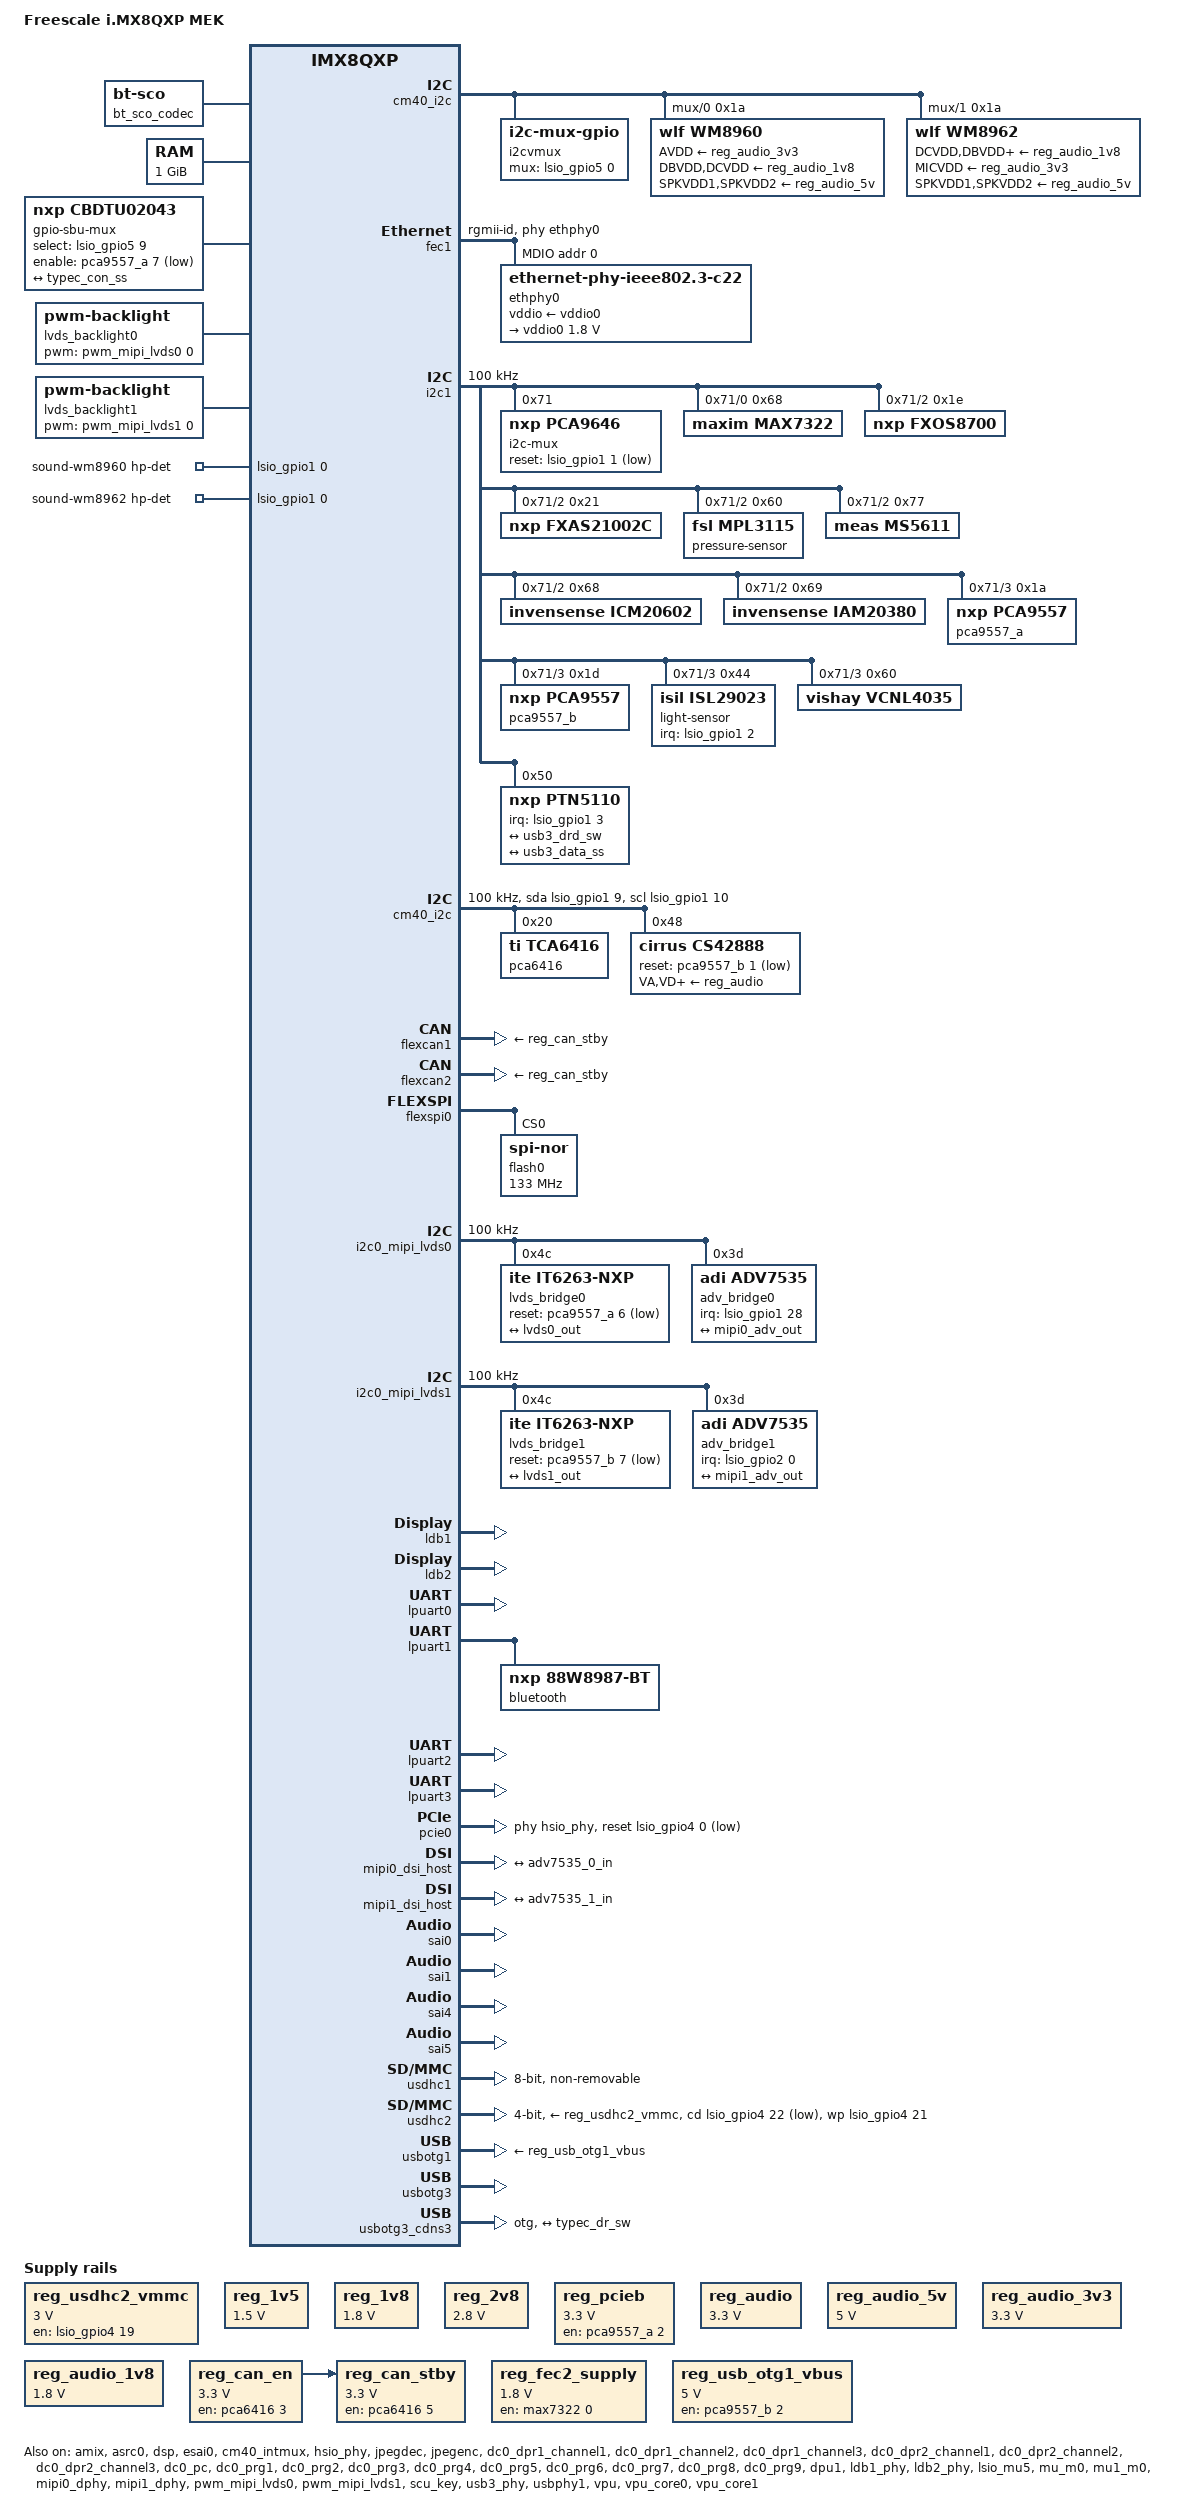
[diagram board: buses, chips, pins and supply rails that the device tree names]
// SPDX-License-Identifier: GPL-2.0+
/*
 * Copyright 2017~2018 NXP
 */

/dts-v1/;

#include "imx8qxp.dtsi"
#include <dt-bindings/usb/pd.h>

/ {
	model = "Freescale i.MX8QXP MEK";
	compatible = "fsl,imx8qxp-mek", "fsl,imx8qxp";

	bt_sco_codec: audio-codec-bt {
		compatible = "linux,bt-sco";
		#sound-dai-cells = <1>;
	};

	brcmfmac: brcmfmac {
		compatible = "cypress,brcmfmac";
		pinctrl-names = "init", "idle", "default";
		pinctrl-0 = <&pinctrl_wifi_init>;
		pinctrl-1 = <&pinctrl_wifi_init>;
		pinctrl-2 = <&pinctrl_wifi>;
	};

	chosen {
		stdout-path = &lpuart0;
	};

	imx8x_cm4: imx8x-cm4 {
		compatible = "fsl,imx8qxp-cm4";
		rsc-da = <0x90000000>;
		mbox-names = "tx", "rx", "rxdb";
		mboxes = <&lsio_mu5 0 1
			  &lsio_mu5 1 1
			  &lsio_mu5 3 1>;
		memory-region = <&vdevbuffer>, <&vdev0vring0>, <&vdev0vring1>,
				<&vdev1vring0>, <&vdev1vring1>, <&rsc_table>;
		power-domains = <&pd IMX_SC_R_M4_0_PID0>,
				<&pd IMX_SC_R_M4_0_MU_1A>;
		fsl,entry-address = <0x34fe0000>;
		fsl,resource-id = <IMX_SC_R_M4_0_PID0>;
		status = "okay";
	};

	memory@80000000 {
		device_type = "memory";
		reg = <0x00000000 0x80000000 0 0x40000000>;
	};

	reg_usdhc2_vmmc: usdhc2-vmmc {
		compatible = "regulator-fixed";
		regulator-name = "SD1_SPWR";
		regulator-min-microvolt = <3000000>;
		regulator-max-microvolt = <3000000>;
		gpio = <&lsio_gpio4 19 GPIO_ACTIVE_HIGH>;
		enable-active-high;
		off-on-delay-us = <3480>;
	};

	gpio-sbu-mux {
		compatible = "nxp,cbdtu02043", "gpio-sbu-mux";
		pinctrl-names = "default";
		pinctrl-0 = <&pinctrl_typec_mux>;
		select-gpios = <&lsio_gpio5 9 GPIO_ACTIVE_HIGH>;
		enable-gpios = <&pca9557_a 7 GPIO_ACTIVE_LOW>;
		orientation-switch;

		port {
			usb3_data_ss: endpoint {
				remote-endpoint = <&typec_con_ss>;
			};
		};
	};

	i2cvmux: i2c-mux {
		compatible = "i2c-mux-gpio";
		mux-gpios = <&lsio_gpio5 0 GPIO_ACTIVE_HIGH>; /* needs to be an unused GPIO */
		i2c-parent = <&cm40_i2c>;
		#address-cells = <1>;
		#size-cells = <0>;

		i2c@0 {
			reg = <0>;
			#address-cells = <1>;
			#size-cells = <0>;

			wm8960: audio-codec@1a {
				compatible = "wlf,wm8960";
				reg = <0x1a>;
				clocks = <&mclkout0_lpcg IMX_LPCG_CLK_0>;
				clock-names = "mclk";
				assigned-clocks = <&clk IMX_SC_R_AUDIO_PLL_0 IMX_SC_PM_CLK_PLL>,
						  <&clk IMX_SC_R_AUDIO_PLL_0 IMX_SC_PM_CLK_SLV_BUS>,
						  <&clk IMX_SC_R_AUDIO_PLL_0 IMX_SC_PM_CLK_MST_BUS>,
						  <&mclkout0_lpcg IMX_LPCG_CLK_0>;
				assigned-clock-rates = <786432000>,
						       <49152000>,
						       <12288000>,
						       <12288000>;
				wlf,shared-lrclk;
				wlf,hp-cfg = <2 2 3>;
				wlf,gpio-cfg = <1 3>;
				AVDD-supply = <&reg_audio_3v3>;
				DBVDD-supply = <&reg_audio_1v8>;
				DCVDD-supply = <&reg_audio_1v8>;
				SPKVDD1-supply = <&reg_audio_5v>;
				SPKVDD2-supply = <&reg_audio_5v>;
			};
		};

		i2c@1 {
			reg = <1>;
			#address-cells = <1>;
			#size-cells = <0>;

			wm8962: wm8962@1a {
				compatible = "wlf,wm8962";
				reg = <0x1a>;
				clocks = <&mclkout0_lpcg IMX_LPCG_CLK_0>;
				assigned-clocks = <&clk IMX_SC_R_AUDIO_PLL_0 IMX_SC_PM_CLK_PLL>,
						  <&clk IMX_SC_R_AUDIO_PLL_0 IMX_SC_PM_CLK_SLV_BUS>,
						  <&clk IMX_SC_R_AUDIO_PLL_0 IMX_SC_PM_CLK_MST_BUS>,
						  <&mclkout0_lpcg IMX_LPCG_CLK_0>;
				assigned-clock-rates = <786432000>,
						       <49152000>,
						       <12288000>,
						       <12288000>;
				DCVDD-supply = <&reg_audio_1v8>;
				DBVDD-supply = <&reg_audio_1v8>;
				AVDD-supply = <&reg_audio_1v8>;
				CPVDD-supply = <&reg_audio_1v8>;
				MICVDD-supply = <&reg_audio_3v3>;
				PLLVDD-supply = <&reg_audio_1v8>;
				SPKVDD1-supply = <&reg_audio_5v>;
				SPKVDD2-supply = <&reg_audio_5v>;
			};
		};
	};

	reg_1v5: regulator-1v5 {
		compatible = "regulator-fixed";
		regulator-name = "1v5";
		regulator-min-microvolt = <1500000>;
		regulator-max-microvolt = <1500000>;
	};

	reg_1v8: regulator-1v8 {
		compatible = "regulator-fixed";
		regulator-name = "1v8";
		regulator-min-microvolt = <1800000>;
		regulator-max-microvolt = <1800000>;
	};

	reg_2v8: regulator-2v8 {
		compatible = "regulator-fixed";
		regulator-name = "2v8";
		regulator-min-microvolt = <2800000>;
		regulator-max-microvolt = <2800000>;
	};

	reg_pcieb: regulator-pcie {
		compatible = "regulator-fixed";
		regulator-max-microvolt = <3300000>;
		regulator-min-microvolt = <3300000>;
		regulator-name = "mpcie_3v3";
		gpio = <&pca9557_a 2 GPIO_ACTIVE_HIGH>;
		enable-active-high;
	};

	lvds_backlight0: lvds_backlight@0 {
		compatible = "pwm-backlight";
		pwms = <&pwm_mipi_lvds0 0 100000 0>;
		brightness-levels = <0 100>;
		num-interpolated-steps = <100>;
		default-brightness-level = <80>;
	};

	lvds_backlight1: lvds_backlight@1 {
		compatible = "pwm-backlight";
		pwms = <&pwm_mipi_lvds1 0 100000 0>;
		brightness-levels = <0 100>;
		num-interpolated-steps = <100>;
		default-brightness-level = <80>;
	};

	reg_audio: regulator-audio {
		compatible = "regulator-fixed";
		regulator-max-microvolt = <3300000>;
		regulator-min-microvolt = <3300000>;
		regulator-name = "cs42888_supply";
	};

	reg_audio_5v: regulator-audio-pwr {
		compatible = "regulator-fixed";
		regulator-name = "audio-5v";
		regulator-min-microvolt = <5000000>;
		regulator-max-microvolt = <5000000>;
		regulator-always-on;
		regulator-boot-on;
	};

	reg_audio_3v3: regulator-audio-3v3 {
		compatible = "regulator-fixed";
		regulator-name = "audio-3v3";
		regulator-min-microvolt = <3300000>;
		regulator-max-microvolt = <3300000>;
		regulator-always-on;
		regulator-boot-on;
	};

	reg_audio_1v8: regulator-audio-1v8 {
		compatible = "regulator-fixed";
		regulator-name = "audio-1v8";
		regulator-min-microvolt = <1800000>;
		regulator-max-microvolt = <1800000>;
		regulator-always-on;
		regulator-boot-on;
	};

	reg_can_en: regulator-can-en {
		compatible = "regulator-fixed";
		regulator-max-microvolt = <3300000>;
		regulator-min-microvolt = <3300000>;
		regulator-name = "can-en";
		gpio = <&pca6416 3 GPIO_ACTIVE_HIGH>;
		enable-active-high;
	};

	reg_can_stby: regulator-can-stby {
		compatible = "regulator-fixed";
		regulator-max-microvolt = <3300000>;
		regulator-min-microvolt = <3300000>;
		regulator-name = "can-stby";
		gpio = <&pca6416 5 GPIO_ACTIVE_HIGH>;
		enable-active-high;
		vin-supply = <&reg_can_en>;
	};

	reg_fec2_supply: regulator-fec2_nvcc {
		compatible = "regulator-fixed";
		regulator-name = "fec2_nvcc";
		regulator-min-microvolt = <1800000>;
		regulator-max-microvolt = <1800000>;
		gpio = <&max7322 0 GPIO_ACTIVE_HIGH>;
		enable-active-high;
	};

	reg_usb_otg1_vbus: regulator-usbotg1-vbus {
		compatible = "regulator-fixed";
		regulator-max-microvolt = <5000000>;
		regulator-min-microvolt = <5000000>;
		regulator-name = "usb_otg1_vbus";
		gpio = <&pca9557_b 2 GPIO_ACTIVE_HIGH>;
		enable-active-high;
	};

	reserved-memory {
		#address-cells = <2>;
		#size-cells = <2>;
		ranges;

		vdev0vring0: vdev0vring0@90000000 {
			reg = <0 0x90000000 0 0x8000>;
			no-map;
		};

		vdev0vring1: vdev0vring1@90008000 {
			reg = <0 0x90008000 0 0x8000>;
			no-map;
		};

		vdev1vring0: vdev1vring0@90010000 {
			reg = <0 0x90010000 0 0x8000>;
			no-map;
		};

		vdev1vring1: vdev1vring1@90018000 {
			reg = <0 0x90018000 0 0x8000>;
			no-map;
		};

		rsc_table: rsc-table@900ff000 {
			reg = <0 0x900ff000 0 0x1000>;
			no-map;
		};

		vdevbuffer: vdevbuffer@90400000 {
			compatible = "shared-dma-pool";
			reg = <0 0x90400000 0 0x100000>;
			no-map;
		};

		dsp_vdev0vring0: vdev0vring0@942f0000 {
			reg = <0 0x942f0000 0 0x8000>;
			no-map;
		};

		dsp_vdev0vring1: vdev0vring1@942f8000 {
			reg = <0 0x942f8000 0 0x8000>;
			no-map;
		};

		dsp_vdev0buffer: vdev0buffer@94300000 {
			compatible = "shared-dma-pool";
			reg = <0 0x94300000 0 0x100000>;
			no-map;
		};

		/* global autoconfigured region for contiguous allocations */
		linux,cma {
			compatible = "shared-dma-pool";
			alloc-ranges = <0 0xc0000000 0 0x3c000000>;
			size = <0 0x3c000000>;
			linux,cma-default;
			reusable;
		};

		gpu_reserved: memory@880000000 {
			no-map;
			reg = <0x8 0x80000000 0 0x10000000>;
		};

		decoder_boot: decoder-boot@84000000 {
			reg = <0 0x84000000 0 0x2000000>;
			no-map;
		};

		encoder_boot: encoder-boot@86000000 {
			reg = <0 0x86000000 0 0x200000>;
			no-map;
		};

		decoder_rpc: decoder-rpc@92000000 {
			reg = <0 0x92000000 0 0x100000>;
			no-map;
		};

		dsp_reserved: dsp@92400000 {
			reg = <0 0x92400000 0 0x1000000>;
			no-map;
		};

		dsp_reserved_heap: dsp_reserved_heap@93400000 {
			reg = <0 0x93400000 0 0xef0000>;
			no-map;
		};

		encoder_rpc: encoder-rpc@94400000 {
			reg = <0 0x94400000 0 0x700000>;
			no-map;
		};

		/* global autoconfigured region for contiguous allocations */
		linux,cma {
			compatible = "shared-dma-pool";
			reusable;
			size = <0 0x3c000000>;
			alloc-ranges = <0 0xc0000000 0 0x3c000000>;
			linux,cma-default;
		};
	};

	sound-bt-sco {
		compatible = "simple-audio-card";
		simple-audio-card,bitclock-inversion;
		simple-audio-card,bitclock-master = <&btcpu>;
		simple-audio-card,format = "dsp_a";
		simple-audio-card,frame-master = <&btcpu>;
		simple-audio-card,name = "bt-sco-audio";

		simple-audio-card,codec {
			sound-dai = <&bt_sco_codec 1>;
		};

		btcpu: simple-audio-card,cpu {
			dai-tdm-slot-num = <2>;
			dai-tdm-slot-width = <16>;
			sound-dai = <&sai0>;
		};
	};

	sound-cs42888 {
		compatible = "fsl,imx-audio-cs42888";
		audio-asrc = <&asrc0>;
		audio-codec = <&cs42888>;
		audio-cpu = <&esai0>;
		audio-routing =
			"Line Out Jack", "AOUT1L",
			"Line Out Jack", "AOUT1R",
			"Line Out Jack", "AOUT2L",
			"Line Out Jack", "AOUT2R",
			"Line Out Jack", "AOUT3L",
			"Line Out Jack", "AOUT3R",
			"Line Out Jack", "AOUT4L",
			"Line Out Jack", "AOUT4R",
			"AIN1L", "Line In Jack",
			"AIN1R", "Line In Jack",
			"AIN2L", "Line In Jack",
			"AIN2R", "Line In Jack";
		model = "imx-cs42888";
	};

	sound-wm8960 {
		compatible = "fsl,imx-audio-wm8960";
		model = "wm8960-audio";
		audio-cpu = <&sai1>;
		audio-codec = <&wm8960>;
		hp-det-gpios = <&lsio_gpio1 0 GPIO_ACTIVE_HIGH>;
		audio-routing = "Headphone Jack", "HP_L",
				"Headphone Jack", "HP_R",
				"Ext Spk", "SPK_LP",
				"Ext Spk", "SPK_LN",
				"Ext Spk", "SPK_RP",
				"Ext Spk", "SPK_RN",
				"LINPUT1", "Mic Jack",
				"Mic Jack", "MICB";
	};

	sound-wm8962 {
		compatible = "fsl,imx-audio-wm8962";
		model = "wm8962-audio";
		audio-cpu = <&sai1>;
		audio-codec = <&wm8962>;
		hp-det-gpios = <&lsio_gpio1 0 GPIO_ACTIVE_HIGH>;
		audio-routing = "Headphone Jack", "HPOUTL",
				"Headphone Jack", "HPOUTR",
				"Ext Spk", "SPKOUTL",
				"Ext Spk", "SPKOUTR",
				"AMIC", "MICBIAS",
				"IN3R", "AMIC",
				"IN1R", "AMIC";
	};
};

&amix {
	status = "okay";
};

&asrc0 {
	fsl,asrc-rate = <48000>;
	status = "okay";
};

&dsp {
	memory-region = <&dsp_vdev0buffer>, <&dsp_vdev0vring0>,
			<&dsp_vdev0vring1>, <&dsp_reserved>;
	status = "okay";
};

&dsp_reserved {
	status = "okay";
};

&esai0 {
	assigned-clocks = <&acm IMX_ADMA_ACM_ESAI0_MCLK_SEL>,
			<&clk IMX_SC_R_AUDIO_PLL_0 IMX_SC_PM_CLK_PLL>,
			<&clk IMX_SC_R_AUDIO_PLL_0 IMX_SC_PM_CLK_SLV_BUS>,
			<&clk IMX_SC_R_AUDIO_PLL_0 IMX_SC_PM_CLK_MST_BUS>,
			<&esai0_lpcg IMX_LPCG_CLK_0>;
	assigned-clock-parents = <&aud_pll_div0_lpcg IMX_LPCG_CLK_0>;
	assigned-clock-rates = <0>, <786432000>, <49152000>, <12288000>, <49152000>;
	pinctrl-0 = <&pinctrl_esai0>;
	pinctrl-names = "default";
	fsl,txm-rxs;
	status = "okay";
};

&fec1 {
	pinctrl-names = "default";
	pinctrl-0 = <&pinctrl_fec1>;
	phy-mode = "rgmii-id";
	phy-handle = <&ethphy0>;
	nvmem-cells = <&fec_mac0>;
	nvmem-cell-names = "mac-address";
	fsl,magic-packet;
	status = "okay";

	mdio {
		#address-cells = <1>;
		#size-cells = <0>;

		ethphy0: ethernet-phy@0 {
			compatible = "ethernet-phy-ieee802.3-c22";
			reg = <0>;
			qca,disable-smarteee;
			vddio-supply = <&vddio0>;

			vddio0: vddio-regulator {
				regulator-min-microvolt = <1800000>;
				regulator-max-microvolt = <1800000>;
			};
		};

		ethphy1: ethernet-phy@1 {
			compatible = "ethernet-phy-ieee802.3-c22";
			reg = <1>;
			qca,disable-smarteee;
			vddio-supply = <&vddio1>;
			status = "disabled";

			vddio1: vddio-regulator {
				regulator-min-microvolt = <1800000>;
				regulator-max-microvolt = <1800000>;
			};
		};
	};
};

&fec2 {
	pinctrl-names = "default";
	pinctrl-0 = <&pinctrl_fec2>;
	phy-mode = "rgmii-id";
	phy-handle = <&ethphy1>;
	phy-supply = <&reg_fec2_supply>;
	fsl,magic-packet;
	nvmem-cells = <&fec_mac1>;
	nvmem-cell-names = "mac-address";
	status = "disabled";
};

&imx8_gpu_ss {
	memory-region = <&gpu_reserved>;
};

&i2c1 {
	#address-cells = <1>;
	#size-cells = <0>;
	clock-frequency = <100000>;
	pinctrl-names = "default";
	pinctrl-0 = <&pinctrl_lpi2c1 &pinctrl_ioexp_rst>;
	status = "okay";

	i2c-mux@71 {
		compatible = "nxp,pca9646", "nxp,pca9546";
		#address-cells = <1>;
		#size-cells = <0>;
		reg = <0x71>;
		reset-gpios = <&lsio_gpio1 1 GPIO_ACTIVE_LOW>;

		i2c@0 {
			#address-cells = <1>;
			#size-cells = <0>;
			reg = <0>;

			max7322: gpio@68 {
				compatible = "maxim,max7322";
				reg = <0x68>;
				gpio-controller;
				#gpio-cells = <2>;
			};
		};

		i2c@1 {
			#address-cells = <1>;
			#size-cells = <0>;
			reg = <1>;
		};

		i2c@2 {
			#address-cells = <1>;
			#size-cells = <0>;
			reg = <2>;

			fxos8700@1e {
				compatible = "nxp,fxos8700";
				reg = <0x1e>;
				interrupt-open-drain;
			};

			fxas21002c@21 {
				compatible = "nxp,fxas21002c";
				reg = <0x21>;
				interrupt-open-drain;
			};

			pressure-sensor@60 {
				compatible = "fsl,mpl3115";
				reg = <0x60>;
				interrupt-open-drain;
			};

			/* WCPU boards SCH-54536 */
			ms5611@77 {
				compatible = "meas,ms5611";
				reg = <0x77>;
			};

			icm20602@68 {
				compatible = "invensense,icm20602";
				reg = <0x68>;
			};

			iam20380@69 {
				compatible = "invensense,iam20380";
				reg = <0x69>;
			};
		};

		i2c@3 {
			#address-cells = <1>;
			#size-cells = <0>;
			reg = <3>;

			pca9557_a: gpio@1a {
				compatible = "nxp,pca9557";
				reg = <0x1a>;
				gpio-controller;
				#gpio-cells = <2>;
			};

			pca9557_b: gpio@1d {
				compatible = "nxp,pca9557";
				reg = <0x1d>;
				gpio-controller;
				#gpio-cells = <2>;
			};

			light-sensor@44 {
				pinctrl-names = "default";
				pinctrl-0 = <&pinctrl_isl29023>;
				compatible = "isil,isl29023";
				reg = <0x44>;
				interrupt-parent = <&lsio_gpio1>;
				interrupts = <2 IRQ_TYPE_EDGE_FALLING>;
			};

			/* WCPU boards SCH-54536 */
			vcnl4035@60 {
				compatible = "vishay,vcnl4035";
				reg = <0x60>;
			};
		};
	};

	ptn5110: tcpc@50 {
		compatible = "nxp,ptn5110", "tcpci";
		pinctrl-names = "default";
		pinctrl-0 = <&pinctrl_typec>;
		reg = <0x50>;
		interrupt-parent = <&lsio_gpio1>;
		interrupts = <3 IRQ_TYPE_LEVEL_LOW>;

		usb_con1: connector {
			compatible = "usb-c-connector";
			label = "USB-C";
			power-role = "source";
			data-role = "dual";
			source-pdos = <PDO_FIXED(5000, 3000, PDO_FIXED_USB_COMM)>;

			ports {
				#address-cells = <1>;
				#size-cells = <0>;

				port@0 {
					reg = <0>;

					typec_dr_sw: endpoint {
						remote-endpoint = <&usb3_drd_sw>;
					};
				};

				port@1 {
					reg = <1>;

					typec_con_ss: endpoint {
						remote-endpoint = <&usb3_data_ss>;
					};
				};
			};
		};
	};

};

pcam_i2c: &cm40_i2c {
	#address-cells = <1>;
	#size-cells = <0>;
	clock-frequency = <100000>;
	pinctrl-names = "default", "gpio";
	pinctrl-0 = <&pinctrl_cm40_i2c>;
	pinctrl-1 = <&pinctrl_cm40_i2c_gpio>;
	scl-gpios = <&lsio_gpio1 10 GPIO_ACTIVE_HIGH>;
	sda-gpios = <&lsio_gpio1 9 GPIO_ACTIVE_HIGH>;
	status = "okay";

	pca6416: gpio@20 {
		compatible = "ti,tca6416";
		reg = <0x20>;
		gpio-controller;
		#gpio-cells = <2>;
	};

	cs42888: audio-codec@48 {
		compatible = "cirrus,cs42888";
		reg = <0x48>;
		clocks = <&mclkout0_lpcg IMX_LPCG_CLK_0>;
		clock-names = "mclk";
		assigned-clocks = <&clk IMX_SC_R_AUDIO_PLL_0 IMX_SC_PM_CLK_PLL>,
				<&clk IMX_SC_R_AUDIO_PLL_0 IMX_SC_PM_CLK_SLV_BUS>,
				<&clk IMX_SC_R_AUDIO_PLL_0 IMX_SC_PM_CLK_MST_BUS>,
				<&mclkout0_lpcg IMX_LPCG_CLK_0>;
		assigned-clock-rates = <786432000>, <49152000>, <12288000>, <12288000>;
		reset-gpios = <&pca9557_b 1 GPIO_ACTIVE_LOW>;
		VA-supply = <&reg_audio>;
		VD-supply = <&reg_audio>;
		VLC-supply = <&reg_audio>;
		VLS-supply = <&reg_audio>;
	};
};

&amix {
	status = "okay";
};

&cm40_intmux {
	status = "okay";
};

&hsio_phy {
	fsl,hsio-cfg = "pciea-x2-pcieb";
	fsl,refclk-pad-mode = "input";
	status = "okay";
};

&flexcan1 {
	pinctrl-0 = <&pinctrl_flexcan1>;
	pinctrl-names = "default";
	xceiver-supply = <&reg_can_stby>;
	status = "okay";
};

&flexcan2 {
	pinctrl-0 = <&pinctrl_flexcan2>;
	pinctrl-names = "default";
	xceiver-supply = <&reg_can_stby>;
	status = "okay";
};

&flexspi0 {
	pinctrl-names = "default";
	pinctrl-0 = <&pinctrl_flexspi0>;
	status = "okay";

	flash0: flash@0 {
		compatible = "jedec,spi-nor";
		reg = <0>;
		spi-max-frequency = <133000000>;
		spi-tx-bus-width = <8>;
		spi-rx-bus-width = <8>;
	};
};

&jpegdec {
	status = "okay";
};

&jpegenc {
	status = "okay";
};

&dc0_dpr1_channel1 {
	status = "okay";
};

&dc0_dpr1_channel2 {
	status = "okay";
};

&dc0_dpr1_channel3 {
	status = "okay";
};

&dc0_dpr2_channel1 {
	status = "okay";
};

&dc0_dpr2_channel2 {
	status = "okay";
};

&dc0_dpr2_channel3 {
	status = "okay";
};

&dc0_pc {
	status = "okay";
};

&dc0_prg1 {
	status = "okay";
};

&dc0_prg2 {
	status = "okay";

};

&dc0_prg3 {
	status = "okay";
};

&dc0_prg4 {
	status = "okay";
};

&dc0_prg5 {
	status = "okay";
};

&dc0_prg6 {
	status = "okay";
};

&dc0_prg7 {
	status = "okay";
};

&dc0_prg8 {
	status = "okay";
};

&dc0_prg9 {
	status = "okay";
};

&dpu1 {
	status = "okay";
};

&i2c0_mipi_lvds0 {
	#address-cells = <1>;
	#size-cells = <0>;
	pinctrl-names = "default";
	pinctrl-0 = <&pinctrl_i2c0_mipi_lvds0>;
	clock-frequency = <100000>;
	status = "okay";

	lvds_bridge0: lvds-to-hdmi-bridge@4c {
		compatible = "ite,it6263-nxp";
		reg = <0x4c>;
		reset-gpios = <&pca9557_a 6 GPIO_ACTIVE_LOW>;

		port {
			it6263_0_in: endpoint {
				remote-endpoint = <&lvds0_out>;
			};
		};
	};

	adv_bridge0: adv7535@3d {
		#address-cells = <1>;
		#size-cells = <0>;

		compatible = "adi,adv7535";
		reg = <0x3d>;
		adi,addr-cec = <0x3b>;
		adi,dsi-lanes = <4>;
		adi,dsi-channel = <1>;
		interrupt-parent = <&lsio_gpio1>;
		interrupts = <28 IRQ_TYPE_LEVEL_LOW>;
		status = "okay";

		port@0 {
			reg = <0>;
			adv7535_0_in: endpoint {
				remote-endpoint = <&mipi0_adv_out>;
			};
		};
	};
};

&i2c0_mipi_lvds1 {
	#address-cells = <1>;
	#size-cells = <0>;
	pinctrl-names = "default";
	pinctrl-0 = <&pinctrl_i2c0_mipi_lvds1>;
	clock-frequency = <100000>;
	status = "okay";

	lvds_bridge1: lvds-to-hdmi-bridge@4c {
		compatible = "ite,it6263-nxp";
		reg = <0x4c>;
		reset-gpios = <&pca9557_b 7 GPIO_ACTIVE_LOW>;

		port {
			it6263_1_in: endpoint {
				remote-endpoint = <&lvds1_out>;
			};
		};
	};

	adv_bridge1: adv7535@3d {
		#address-cells = <1>;
		#size-cells = <0>;

		compatible = "adi,adv7535";
		reg = <0x3d>;
		adi,addr-cec = <0x3b>;
		adi,dsi-lanes = <4>;
		adi,dsi-channel = <1>;
		interrupt-parent = <&lsio_gpio2>;
		interrupts = <0 IRQ_TYPE_LEVEL_LOW>;
		status = "okay";

		port@0 {
			reg = <0>;
			adv7535_1_in: endpoint {
				remote-endpoint = <&mipi1_adv_out>;
			};
		};
	};
};

&ldb1 {
	status = "okay";

	lvds-channel@0 {
		fsl,data-mapping = "jeida";
		fsl,data-width = <24>;
		status = "okay";

		port@1 {
			reg = <1>;

			lvds0_out: endpoint {
				remote-endpoint = <&it6263_0_in>;
			};
		};
	};
};

&ldb1_phy {
	status = "okay";
};

&ldb2 {
	status = "okay";

	lvds-channel@0 {
		fsl,data-mapping = "jeida";
		fsl,data-width = <24>;
		status = "okay";

		port@1 {
			reg = <1>;

			lvds1_out: endpoint {
				remote-endpoint = <&it6263_1_in>;
			};
		};
	};
};

&ldb2_phy {
	status = "okay";
};

&lpuart0 {
	pinctrl-names = "default";
	pinctrl-0 = <&pinctrl_lpuart0>;
	status = "okay";
};

&lpuart1 {
	pinctrl-names = "default";
	pinctrl-0 = <&pinctrl_lpuart1>;
	status = "okay";

	bluetooth {
		compatible = "nxp,88w8987-bt";
	};
};

&lpuart2 {
	pinctrl-names = "default";
	pinctrl-0 = <&pinctrl_lpuart2>;
	status = "okay";
};

&lpuart3 {
	pinctrl-names = "default";
	pinctrl-0 = <&pinctrl_lpuart3>;
	status = "okay";
};

&lsio_mu5 {
	status = "okay";
};

&mu_m0 {
	status = "okay";
};

&mu1_m0 {
	status = "okay";
};

&pcie0 {
	phys = <&hsio_phy 0 PHY_TYPE_PCIE 0>;
	phy-names = "pcie-phy";
	pinctrl-0 = <&pinctrl_pcieb>;
	pinctrl-names = "default";
	reset-gpios = <&lsio_gpio4 0 GPIO_ACTIVE_LOW>;
	vpcie-supply = <&reg_pcieb>;
	vpcie3v3aux-supply = <&reg_pcieb>;
	supports-clkreq;
	status = "okay";
};

&pcie0_ep {
	phys = <&hsio_phy 0 PHY_TYPE_PCIE 0>;
	phy-names = "pcie-phy";
	pinctrl-0 = <&pinctrl_pcieb>;
	pinctrl-names = "default";
	vpcie-supply = <&reg_pcieb>;
	status = "disabled";
};

&mipi0_dphy {
	status = "okay";
};

&mipi0_dsi_host {
	status = "okay";

	ports {
		port@1 {
			reg = <1>;
			mipi0_adv_out: endpoint {
				remote-endpoint = <&adv7535_0_in>;
			};
		};
	};
};

&mipi1_dphy {
	status = "okay";
};

&mipi1_dsi_host {
	status = "okay";

	ports {
		port@1 {
			reg = <1>;
			mipi1_adv_out: endpoint {
				remote-endpoint = <&adv7535_1_in>;
			};
		};
	};
};

&pwm_mipi_lvds0 {
	pinctrl-names = "default";
	pinctrl-0 = <&pinctrl_pwm_mipi_lvds0>;
	status = "okay";
};

&pwm_mipi_lvds1 {
	pinctrl-names = "default";
	pinctrl-0 = <&pinctrl_pwm_mipi_lvds1>;
	status = "okay";
};

&scu_key {
	status = "okay";
};

&sai0 {
	#sound-dai-cells = <0>;
	assigned-clocks = <&clk IMX_SC_R_AUDIO_PLL_0 IMX_SC_PM_CLK_PLL>,
			  <&clk IMX_SC_R_AUDIO_PLL_0 IMX_SC_PM_CLK_SLV_BUS>,
			  <&clk IMX_SC_R_AUDIO_PLL_0 IMX_SC_PM_CLK_MST_BUS>,
			  <&sai0_lpcg IMX_LPCG_CLK_0>;
	assigned-clock-rates = <786432000>, <49152000>, <12288000>, <49152000>;
	pinctrl-names = "default";
	pinctrl-0 = <&pinctrl_sai0>;
	fsl,txm-rxs;
	status = "okay";
};

&sai1 {
	assigned-clocks = <&clk IMX_SC_R_AUDIO_PLL_0 IMX_SC_PM_CLK_PLL>,
			  <&clk IMX_SC_R_AUDIO_PLL_0 IMX_SC_PM_CLK_SLV_BUS>,
			  <&clk IMX_SC_R_AUDIO_PLL_0 IMX_SC_PM_CLK_MST_BUS>,
			  <&sai1_lpcg IMX_LPCG_CLK_0>;
	assigned-clock-rates = <786432000>, <49152000>, <12288000>, <49152000>;
	pinctrl-names = "default";
	pinctrl-0 = <&pinctrl_sai1>;
	status = "okay";
};

&sai4 {
	assigned-clocks = <&acm IMX_ADMA_ACM_SAI4_MCLK_SEL>,
			  <&clk IMX_SC_R_AUDIO_PLL_1 IMX_SC_PM_CLK_PLL>,
			  <&clk IMX_SC_R_AUDIO_PLL_1 IMX_SC_PM_CLK_SLV_BUS>,
			  <&clk IMX_SC_R_AUDIO_PLL_1 IMX_SC_PM_CLK_MST_BUS>,
			  <&sai4_lpcg IMX_LPCG_CLK_0>;
	assigned-clock-parents = <&aud_pll_div1_lpcg IMX_LPCG_CLK_0>;
	assigned-clock-rates = <0>, <786432000>, <98304000>, <12288000>, <98304000>;
	fsl,sai-asynchronous;
	fsl,txm-rxs;
	status = "okay";
};

&sai5 {
	assigned-clocks = <&acm IMX_ADMA_ACM_SAI5_MCLK_SEL>,
			  <&clk IMX_SC_R_AUDIO_PLL_1 IMX_SC_PM_CLK_PLL>,
			  <&clk IMX_SC_R_AUDIO_PLL_1 IMX_SC_PM_CLK_SLV_BUS>,
			  <&clk IMX_SC_R_AUDIO_PLL_1 IMX_SC_PM_CLK_MST_BUS>,
			  <&sai5_lpcg IMX_LPCG_CLK_0>;
	assigned-clock-parents = <&aud_pll_div1_lpcg IMX_LPCG_CLK_0>;
	assigned-clock-rates = <0>, <786432000>, <98304000>, <12288000>, <98304000>;
	fsl,sai-asynchronous;
	fsl,txm-rxs;
	status = "okay";
};

&thermal_zones {
	pmic-thermal {
		polling-delay-passive = <250>;
		polling-delay = <2000>;
		thermal-sensors = <&tsens IMX_SC_R_PMIC_0>;

		trips {
			pmic_alert0: trip0 {
				temperature = <110000>;
				hysteresis = <2000>;
				type = "passive";
			};

			pmic_crit0: trip1 {
				temperature = <125000>;
				hysteresis = <2000>;
				type = "critical";
			};
		};

		pmic_cooling_maps: cooling-maps {
			map0 {
				trip = <&pmic_alert0>;
				cooling-device =
					<&A35_0 THERMAL_NO_LIMIT THERMAL_NO_LIMIT>,
					<&A35_1 THERMAL_NO_LIMIT THERMAL_NO_LIMIT>,
					<&A35_2 THERMAL_NO_LIMIT THERMAL_NO_LIMIT>,
					<&A35_3 THERMAL_NO_LIMIT THERMAL_NO_LIMIT>,
					<&imx8_gpu_ss 0 1>;
			};
		};
	};
};

&usdhc1 {
	assigned-clocks = <&clk IMX_SC_R_SDHC_0 IMX_SC_PM_CLK_PER>;
	assigned-clock-rates = <400000000>;
	pinctrl-names = "default", "state_100mhz", "state_200mhz";
	pinctrl-0 = <&pinctrl_usdhc1>;
	pinctrl-1 = <&pinctrl_usdhc1>;
	pinctrl-2 = <&pinctrl_usdhc1>;
	bus-width = <8>;
	no-sd;
	no-sdio;
	non-removable;
	status = "okay";
};

&usdhc2 {
	assigned-clocks = <&clk IMX_SC_R_SDHC_1 IMX_SC_PM_CLK_PER>;
	assigned-clock-rates = <200000000>;
	pinctrl-names = "default", "state_100mhz", "state_200mhz";
	pinctrl-0 = <&pinctrl_usdhc2>, <&pinctrl_usdhc2_gpio>;
	pinctrl-1 = <&pinctrl_usdhc2>, <&pinctrl_usdhc2_gpio>;
	pinctrl-2 = <&pinctrl_usdhc2>, <&pinctrl_usdhc2_gpio>;
	bus-width = <4>;
	vmmc-supply = <&reg_usdhc2_vmmc>;
	cd-gpios = <&lsio_gpio4 22 GPIO_ACTIVE_LOW>;
	wp-gpios = <&lsio_gpio4 21 GPIO_ACTIVE_HIGH>;
	status = "okay";
};

&usb3_phy {
	status = "okay";
};

&usbphy1 {
	status = "okay";
};

&usbotg1 {
	adp-disable;
	hnp-disable;
	srp-disable;
	disable-over-current;
	power-active-high;
	vbus-supply = <&reg_usb_otg1_vbus>;
	status = "okay";
};

&usbotg3 {
	status = "okay";
};

&usbotg3_cdns3 {
	dr_mode = "otg";
	usb-role-switch;
	status = "okay";

	port {
		usb3_drd_sw: endpoint {
			remote-endpoint = <&typec_dr_sw>;
		};
	};
};


&vpu {
	compatible = "nxp,imx8qxp-vpu";
	status = "okay";
};

&vpu_core0 {
	reg = <0x2d040000 0x10000>;
	memory-region = <&decoder_boot>, <&decoder_rpc>;
	status = "okay";
};

&vpu_core1 {
	reg = <0x2d050000 0x10000>;
	memory-region = <&encoder_boot>, <&encoder_rpc>;
	status = "okay";
};

&iomuxc {
	pinctrl-names = "default";
	pinctrl-0 = <&pinctrl_hog>;

	pinctrl_hog: hoggrp {
		fsl,pins = <
			IMX8QXP_MCLK_OUT0_ADMA_ACM_MCLK_OUT0       0x0600004c
//			IMX8QXP_COMP_CTL_GPIO_1V8_3V3_GPIORHB_PAD  0x000514a0
		>;
	};

	pinctrl_cm40_i2c: cm40i2cgrp {
		fsl,pins = <
			IMX8QXP_ADC_IN1_M40_I2C0_SDA				0x0600004c
			IMX8QXP_ADC_IN0_M40_I2C0_SCL				0x0600004c
		>;
	};

	pinctrl_cm40_i2c_gpio: cm40i2cgpio-grp {
		fsl,pins = <
			IMX8QXP_ADC_IN1_LSIO_GPIO1_IO09				0xc600004c
			IMX8QXP_ADC_IN0_LSIO_GPIO1_IO10				0xc600004c
		>;
	};

	pinctrl_esai0: esai0grp {
		fsl,pins = <
			IMX8QXP_ESAI0_FSR_ADMA_ESAI0_FSR			0xc6000040
			IMX8QXP_ESAI0_FST_ADMA_ESAI0_FST			0xc6000040
			IMX8QXP_ESAI0_SCKR_ADMA_ESAI0_SCKR			0xc6000040
			IMX8QXP_ESAI0_SCKT_ADMA_ESAI0_SCKT			0xc6000040
			IMX8QXP_ESAI0_TX0_ADMA_ESAI0_TX0			0xc6000040
			IMX8QXP_ESAI0_TX1_ADMA_ESAI0_TX1			0xc6000040
			IMX8QXP_ESAI0_TX2_RX3_ADMA_ESAI0_TX2_RX3		0xc6000040
			IMX8QXP_ESAI0_TX3_RX2_ADMA_ESAI0_TX3_RX2		0xc6000040
			IMX8QXP_ESAI0_TX4_RX1_ADMA_ESAI0_TX4_RX1		0xc6000040
			IMX8QXP_ESAI0_TX5_RX0_ADMA_ESAI0_TX5_RX0		0xc6000040
		>;
	};

	pinctrl_fec1: fec1grp {
		fsl,pins = <
			IMX8QXP_COMP_CTL_GPIO_1V8_3V3_ENET_ENETB0_PAD           0x000014a0
			IMX8QXP_COMP_CTL_GPIO_1V8_3V3_ENET_ENETB1_PAD           0x000014a0
			IMX8QXP_ENET0_MDC_CONN_ENET0_MDC			0x06000020
			IMX8QXP_ENET0_MDIO_CONN_ENET0_MDIO			0x06000020
			IMX8QXP_ENET0_RGMII_TX_CTL_CONN_ENET0_RGMII_TX_CTL	0x06000020
			IMX8QXP_ENET0_RGMII_TXC_CONN_ENET0_RGMII_TXC		0x06000020
			IMX8QXP_ENET0_RGMII_TXD0_CONN_ENET0_RGMII_TXD0		0x06000020
			IMX8QXP_ENET0_RGMII_TXD1_CONN_ENET0_RGMII_TXD1		0x06000020
			IMX8QXP_ENET0_RGMII_TXD2_CONN_ENET0_RGMII_TXD2		0x06000020
			IMX8QXP_ENET0_RGMII_TXD3_CONN_ENET0_RGMII_TXD3		0x06000020
			IMX8QXP_ENET0_RGMII_RXC_CONN_ENET0_RGMII_RXC		0x06000020
			IMX8QXP_ENET0_RGMII_RX_CTL_CONN_ENET0_RGMII_RX_CTL	0x06000020
			IMX8QXP_ENET0_RGMII_RXD0_CONN_ENET0_RGMII_RXD0		0x06000020
			IMX8QXP_ENET0_RGMII_RXD1_CONN_ENET0_RGMII_RXD1		0x06000020
			IMX8QXP_ENET0_RGMII_RXD2_CONN_ENET0_RGMII_RXD2		0x06000020
			IMX8QXP_ENET0_RGMII_RXD3_CONN_ENET0_RGMII_RXD3		0x06000020
		>;
	};

	pinctrl_fec2: fec2grp {
		fsl,pins = <
			IMX8QXP_ESAI0_SCKR_CONN_ENET1_RGMII_TX_CTL		0x00000060
			IMX8QXP_ESAI0_FSR_CONN_ENET1_RGMII_TXC			0x00000060
			IMX8QXP_ESAI0_TX4_RX1_CONN_ENET1_RGMII_TXD0		0x00000060
			IMX8QXP_ESAI0_TX5_RX0_CONN_ENET1_RGMII_TXD1		0x00000060
			IMX8QXP_ESAI0_FST_CONN_ENET1_RGMII_TXD2			0x00000060
			IMX8QXP_ESAI0_SCKT_CONN_ENET1_RGMII_TXD3		0x00000060
			IMX8QXP_ESAI0_TX0_CONN_ENET1_RGMII_RXC			0x00000060
			IMX8QXP_SPDIF0_TX_CONN_ENET1_RGMII_RX_CTL		0x00000060
			IMX8QXP_SPDIF0_RX_CONN_ENET1_RGMII_RXD0			0x00000060
			IMX8QXP_ESAI0_TX3_RX2_CONN_ENET1_RGMII_RXD1		0x00000060
			IMX8QXP_ESAI0_TX2_RX3_CONN_ENET1_RGMII_RXD2		0x00000060
			IMX8QXP_ESAI0_TX1_CONN_ENET1_RGMII_RXD3			0x00000060
		>;
	};

	pinctrl_flexcan1: flexcan0grp {
		fsl,pins = <
			IMX8QXP_FLEXCAN0_TX_ADMA_FLEXCAN0_TX			0x21
			IMX8QXP_FLEXCAN0_RX_ADMA_FLEXCAN0_RX			0x21
		>;
	};

	pinctrl_flexcan2: flexcan1grp {
		fsl,pins = <
			IMX8QXP_FLEXCAN1_TX_ADMA_FLEXCAN1_TX			0x21
			IMX8QXP_FLEXCAN1_RX_ADMA_FLEXCAN1_RX			0x21
		>;
	};

	pinctrl_i2c_mipi_csi0: i2c-mipi-csi0grp {
		fsl,pins = <
			IMX8QXP_MIPI_CSI0_I2C0_SCL_MIPI_CSI0_I2C0_SCL		0xc2000020
			IMX8QXP_MIPI_CSI0_I2C0_SDA_MIPI_CSI0_I2C0_SDA		0xc2000020
		>;
	};

	pinctrl_flexspi0: flexspi0grp {
		fsl,pins = <
			IMX8QXP_QSPI0A_DATA0_LSIO_QSPI0A_DATA0			0x06000021
			IMX8QXP_QSPI0A_DATA1_LSIO_QSPI0A_DATA1			0x06000021
			IMX8QXP_QSPI0A_DATA2_LSIO_QSPI0A_DATA2			0x06000021
			IMX8QXP_QSPI0A_DATA3_LSIO_QSPI0A_DATA3			0x06000021
			IMX8QXP_QSPI0A_DQS_LSIO_QSPI0A_DQS			0x06000021
			IMX8QXP_QSPI0A_SS0_B_LSIO_QSPI0A_SS0_B			0x06000021
			IMX8QXP_QSPI0A_SS1_B_LSIO_QSPI0A_SS1_B			0x06000021
			IMX8QXP_QSPI0A_SCLK_LSIO_QSPI0A_SCLK			0x06000021
			IMX8QXP_QSPI0B_SCLK_LSIO_QSPI0B_SCLK			0x06000021
			IMX8QXP_QSPI0B_DATA0_LSIO_QSPI0B_DATA0			0x06000021
			IMX8QXP_QSPI0B_DATA1_LSIO_QSPI0B_DATA1			0x06000021
			IMX8QXP_QSPI0B_DATA2_LSIO_QSPI0B_DATA2			0x06000021
			IMX8QXP_QSPI0B_DATA3_LSIO_QSPI0B_DATA3			0x06000021
			IMX8QXP_QSPI0B_DQS_LSIO_QSPI0B_DQS			0x06000021
			IMX8QXP_QSPI0B_SS0_B_LSIO_QSPI0B_SS0_B			0x06000021
			IMX8QXP_QSPI0B_SS1_B_LSIO_QSPI0B_SS1_B			0x06000021
		>;
	};

	pinctrl_ioexp_rst: ioexprstgrp {
		fsl,pins = <
			IMX8QXP_SPI2_SDO_LSIO_GPIO1_IO01			0x06000021
		>;
	};

	pinctrl_isl29023: isl29023grp {
		fsl,pins = <
			IMX8QXP_SPI2_SDI_LSIO_GPIO1_IO02			0x00000021
		>;
	};

	pinctrl_lcdif: lcdifgrp {
		fsl,pins = <
			IMX8QXP_ESAI0_FSR_ADMA_LCDIF_D00	0x00000060
			IMX8QXP_ESAI0_FST_ADMA_LCDIF_D01	0x00000060
			IMX8QXP_ESAI0_SCKR_ADMA_LCDIF_D02	0x00000060
			IMX8QXP_ESAI0_SCKT_ADMA_LCDIF_D03	0x00000060
			IMX8QXP_ESAI0_TX0_ADMA_LCDIF_D04	0x00000060
			IMX8QXP_ESAI0_TX1_ADMA_LCDIF_D05	0x00000060
			IMX8QXP_ESAI0_TX2_RX3_ADMA_LCDIF_D06	0x00000060
			IMX8QXP_ESAI0_TX3_RX2_ADMA_LCDIF_D07	0x00000060
			IMX8QXP_ESAI0_TX4_RX1_ADMA_LCDIF_D08	0x00000060
			IMX8QXP_ESAI0_TX5_RX0_ADMA_LCDIF_D09	0x00000060
			IMX8QXP_SPDIF0_RX_ADMA_LCDIF_D10	0x00000060
			IMX8QXP_SPDIF0_TX_ADMA_LCDIF_D11	0x00000060
			IMX8QXP_SPDIF0_EXT_CLK_ADMA_LCDIF_D12	0x00000060
			IMX8QXP_SPI3_SCK_ADMA_LCDIF_D13		0x00000060
			IMX8QXP_SPI3_SDO_ADMA_LCDIF_D14		0x00000060
			IMX8QXP_SPI3_SDI_ADMA_LCDIF_D15		0x00000060
			IMX8QXP_UART1_RTS_B_ADMA_LCDIF_D16	0x00000060
			IMX8QXP_UART1_CTS_B_ADMA_LCDIF_D17	0x00000060
			IMX8QXP_SPI3_CS0_ADMA_LCDIF_HSYNC	0x00000060
			IMX8QXP_SPI3_CS1_ADMA_LCDIF_RESET	0x00000060
			IMX8QXP_MCLK_IN1_ADMA_LCDIF_EN		0x00000060
			IMX8QXP_MCLK_IN0_ADMA_LCDIF_VSYNC	0x00000060
			IMX8QXP_MCLK_OUT0_ADMA_LCDIF_CLK	0x00000060
		>;
	};

	pinctrl_lcdifpwm: lcdifpwmgrp {
		fsl,pins = <
			IMX8QXP_SPI0_CS1_ADMA_LCD_PWM0_OUT	0x00000060
		>;
	};

	pinctrl_lpi2c1: lpi2c1grp {
		fsl,pins = <
			IMX8QXP_USB_SS3_TC1_ADMA_I2C1_SCL			0x06000021
			IMX8QXP_USB_SS3_TC3_ADMA_I2C1_SDA			0x06000021
		>;
	};

	pinctrl_lpuart0: lpuart0grp {
		fsl,pins = <
			IMX8QXP_UART0_RX_ADMA_UART0_RX				0x06000020
			IMX8QXP_UART0_TX_ADMA_UART0_TX				0x06000020
		>;
	};

	pinctrl_lpuart1: lpuart1grp {
		fsl,pins = <
			IMX8QXP_UART1_TX_ADMA_UART1_TX				0x06000020
			IMX8QXP_UART1_RX_ADMA_UART1_RX				0x06000020
			IMX8QXP_UART1_RTS_B_ADMA_UART1_RTS_B			0x06000020
			IMX8QXP_UART1_CTS_B_ADMA_UART1_CTS_B			0x06000020
		>;
	};

	pinctrl_lpuart2: lpuart2grp {
		fsl,pins = <
			IMX8QXP_UART2_TX_ADMA_UART2_TX				0x06000020
			IMX8QXP_UART2_RX_ADMA_UART2_RX				0x06000020
		>;
	};

	pinctrl_lpuart3: lpuart3grp {
		fsl,pins = <
			IMX8QXP_FLEXCAN2_TX_ADMA_UART3_TX			0x06000020
			IMX8QXP_FLEXCAN2_RX_ADMA_UART3_RX			0x06000020
		>;
	};

	pinctrl_mipi_csi0: mipi-csi0grp {
		fsl,pins = <
			IMX8QXP_MIPI_CSI0_GPIO0_01_LSIO_GPIO3_IO07		0xC0000041
			IMX8QXP_MIPI_CSI0_GPIO0_00_LSIO_GPIO3_IO08		0xC0000041
			IMX8QXP_MIPI_CSI0_MCLK_OUT_MIPI_CSI0_ACM_MCLK_OUT	0xC0000041
		>;
	};

	pinctrl_i2c0_mipi_lvds0: mipi_lvds0_i2c0_grp {
		fsl,pins = <
			IMX8QXP_MIPI_DSI0_I2C0_SCL_MIPI_DSI0_I2C0_SCL		0xc6000020
			IMX8QXP_MIPI_DSI0_I2C0_SDA_MIPI_DSI0_I2C0_SDA		0xc6000020
			IMX8QXP_MIPI_DSI0_GPIO0_01_LSIO_GPIO1_IO28		0x00000020
		>;
	};

	pinctrl_i2c0_mipi_lvds1: mipi_lvds1_i2c0_grp {
		fsl,pins = <
			IMX8QXP_MIPI_DSI1_I2C0_SCL_MIPI_DSI1_I2C0_SCL		0xc6000020
			IMX8QXP_MIPI_DSI1_I2C0_SDA_MIPI_DSI1_I2C0_SDA		0xc6000020
			IMX8QXP_MIPI_DSI1_GPIO0_01_LSIO_GPIO2_IO00		0x00000020
		>;
	};

	pinctrl_pwm_mipi_lvds0: mipi_lvds0_pwm_grp {
		fsl,pins = <
			IMX8QXP_MIPI_DSI0_GPIO0_00_MIPI_DSI0_PWM0_OUT		0x00000020
		>;
	};

	pinctrl_pwm_mipi_lvds1: mipi_lvds1_pwm_grp {
		fsl,pins = <
			IMX8QXP_MIPI_DSI1_GPIO0_00_MIPI_DSI1_PWM0_OUT		0x00000020
		>;
	};

	pinctrl_pcieb: pcieagrp {
		fsl,pins = <
			IMX8QXP_PCIE_CTRL0_PERST_B_LSIO_GPIO4_IO00		0x06000021
			IMX8QXP_PCIE_CTRL0_CLKREQ_B_HSIO_PCIE0_CLKREQ_B		0x06000021
			IMX8QXP_PCIE_CTRL0_WAKE_B_LSIO_GPIO4_IO02		0x04000021
		>;
	};

	pinctrl_typec: typecgrp {
		fsl,pins = <
			IMX8QXP_SPI2_SCK_LSIO_GPIO1_IO03			0x06000021
		>;
	};

	pinctrl_typec_mux: typecmuxgrp {
		fsl,pins = <
			IMX8QXP_ENET0_REFCLK_125M_25M_LSIO_GPIO5_IO09		0x60
		>;
	};

	pinctrl_sai0: sai0grp {
		fsl,pins = <
			IMX8QXP_SAI0_TXD_ADMA_SAI0_TXD		0x06000060
			IMX8QXP_SAI0_RXD_ADMA_SAI0_RXD		0x06000040
			IMX8QXP_SAI0_TXC_ADMA_SAI0_TXC		0x06000040
			IMX8QXP_SAI0_TXFS_ADMA_SAI0_TXFS	0x06000040
		>;
	};

	pinctrl_sai1: sai1grp {
		fsl,pins = <
			IMX8QXP_SAI1_RXD_ADMA_SAI1_RXD				0x06000040
			IMX8QXP_SAI1_RXC_ADMA_SAI1_TXC				0x06000040
			IMX8QXP_SAI1_RXFS_ADMA_SAI1_TXFS			0x06000040
			IMX8QXP_SPI0_CS1_ADMA_SAI1_TXD				0x06000060
			IMX8QXP_SPI2_CS0_LSIO_GPIO1_IO00			0x06000040
		>;
	};

	pinctrl_usdhc1: usdhc1grp {
		fsl,pins = <
			IMX8QXP_EMMC0_CLK_CONN_EMMC0_CLK			0x06000041
			IMX8QXP_EMMC0_CMD_CONN_EMMC0_CMD			0x00000021
			IMX8QXP_EMMC0_DATA0_CONN_EMMC0_DATA0			0x00000021
			IMX8QXP_EMMC0_DATA1_CONN_EMMC0_DATA1			0x00000021
			IMX8QXP_EMMC0_DATA2_CONN_EMMC0_DATA2			0x00000021
			IMX8QXP_EMMC0_DATA3_CONN_EMMC0_DATA3			0x00000021
			IMX8QXP_EMMC0_DATA4_CONN_EMMC0_DATA4			0x00000021
			IMX8QXP_EMMC0_DATA5_CONN_EMMC0_DATA5			0x00000021
			IMX8QXP_EMMC0_DATA6_CONN_EMMC0_DATA6			0x00000021
			IMX8QXP_EMMC0_DATA7_CONN_EMMC0_DATA7			0x00000021
			IMX8QXP_EMMC0_STROBE_CONN_EMMC0_STROBE			0x00000041
		>;
	};

	pinctrl_usdhc2_gpio: usdhc2gpiogrp {
		fsl,pins = <
			IMX8QXP_USDHC1_RESET_B_LSIO_GPIO4_IO19			0x00000021
			IMX8QXP_USDHC1_WP_LSIO_GPIO4_IO21			0x00000021
			IMX8QXP_USDHC1_CD_B_LSIO_GPIO4_IO22			0x00000021
		>;
	};

	pinctrl_usdhc2: usdhc2grp {
		fsl,pins = <
			IMX8QXP_USDHC1_CLK_CONN_USDHC1_CLK			0x06000041
			IMX8QXP_USDHC1_CMD_CONN_USDHC1_CMD			0x00000021
			IMX8QXP_USDHC1_DATA0_CONN_USDHC1_DATA0			0x00000021
			IMX8QXP_USDHC1_DATA1_CONN_USDHC1_DATA1			0x00000021
			IMX8QXP_USDHC1_DATA2_CONN_USDHC1_DATA2			0x00000021
			IMX8QXP_USDHC1_DATA3_CONN_USDHC1_DATA3			0x00000021
			IMX8QXP_USDHC1_VSELECT_CONN_USDHC1_VSELECT		0x00000021
		>;
	};

	pinctrl_wifi: wifigrp{
		fsl,pins = <
			IMX8QXP_SCU_BOOT_MODE3_SCU_DSC_RTC_CLOCK_OUTPUT_32K	0x20
		>;
	};

	pinctrl_wifi_init: wifi_initgrp{
		fsl,pins = <
			/* reserve pin init/idle_state to support multiple wlan cards */
		>;
	};
};

#include "imx8qxp-android.dtsi"
